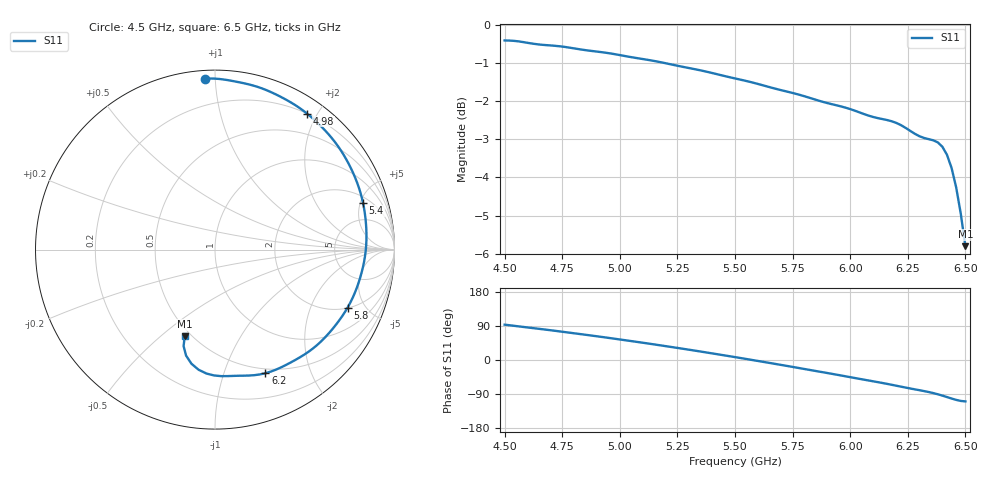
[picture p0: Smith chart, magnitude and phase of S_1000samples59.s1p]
! TOUCHSTONE file generated by CST MICROWAVE STUDIO
! Date and time: Wed Oct 26 20:38:04 2022
! Project name: L.cst
! Parameters = {Di=1.27; Epsilon_r=1.56; InnerDiameter=1.27; Length=2; Lf=10; Lg=60; OuterConductorThickness=0.2921; OuterDiameter=3.6; Wf=3; Wp=41.2; de=1.5; df=6.8; g=0.8; gx=2.06858; gy=4.13239; h=2.34; hf=1.524; px=9.3934; py=13.8572; w=9.7; wx=7.32482; wy=9.72484}
! Header version: 2018
! Port assignment regex: !\s*Touchstone port\s*([0-9]+)\s*=\s*(CST MWS port|CST DS port)\s*([0-9]+|Zmin|Zmax)\s*\(\"(.*)\"\)(\s*mode\s*([0-9]+))?.*
! Touchstone port assignment:
! Touchstone port 1 = CST MWS port 1 ("")
# GHz S DB R 50
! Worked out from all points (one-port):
!   101 points, 4.5 GHz to 6.5 GHz, reference 50 ohm
!   lowest |S11| = -5.8 dB at 6.5 GHz (marker M1), VSWR 3.10, Z = 23 - j30.3 ohm
!   |S11| at or under -10 dB: nowhere
!   S11 on the Smith chart (normalised r, x): 4.5 GHz: 0.04, +0.94; 4.98 GHz: 0.20, +1.87; 5.4 GHz: 2.56, +5.29; 5.8 GHz: 2.03, -3.74; 6.2 GHz: 0.45, -1.39; 6.5 GHz: 0.46, -0.61
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4.5  -0.41 93.2
4.6  -0.47 85.8
4.76  -0.58 73.8
4.88  -0.69 64.3
4.98  -0.77 55.9
5  -0.79 54.2
5.12  -0.92 43.8
5.26  -1.08 30.9
5.34  -1.18 23.4
5.4  -1.26 17.5
5.5  -1.41 7.6
5.62  -1.58 -4.7
5.7  -1.71 -13.0
5.76  -1.80 -19.3
5.8  -1.87 -23.6
5.9  -2.05 -34.3
6  -2.21 -45.3
6.1  -2.42 -56.2
6.2  -2.57 -67.8
6.26  -2.78 -75.1
6.34  -3.00 -84.4
6.38  -3.08 -90.4
6.4  -3.20 -94.0
6.42  -3.41 -97.8
6.44  -3.75 -101.7
6.46  -4.26 -105.3
6.48  -4.95 -108.0
6.5  -5.80 -109.2
